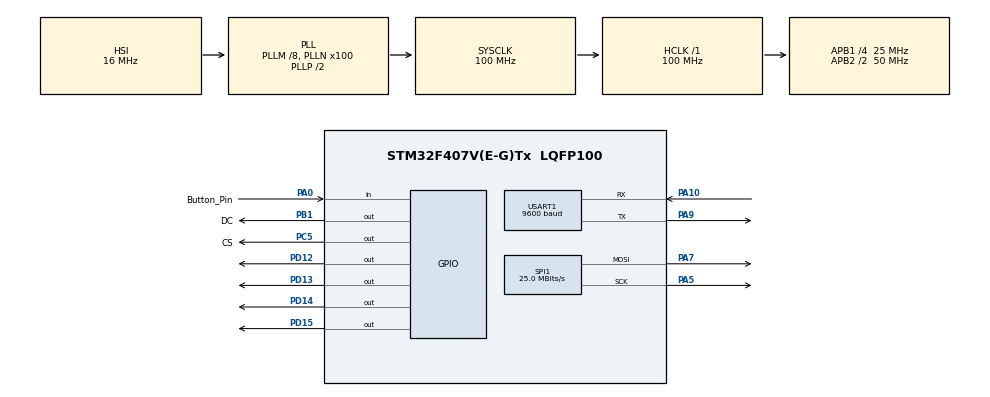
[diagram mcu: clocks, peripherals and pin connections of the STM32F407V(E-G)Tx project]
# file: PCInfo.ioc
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Mcu.Family=STM32F4
Mcu.Name=STM32F407V(E-G)Tx
Mcu.Package=LQFP100
NVIC.PriorityGroup=NVIC_PRIORITYGROUP_4
NVIC.USART1_IRQn=true\:0\:0\:false\:false\:true
PA0-WKUP.GPIO_Label=Button_Pin
PA0-WKUP.Signal=GPIO_Input
PA10.GPIO_Speed=GPIO_SPEED_FREQ_HIGH
PA10.Mode=Asynchronous
PA10.Signal=USART1_RX
PA13.Mode=Serial_Wire
PA13.Signal=SYS_JTMS-SWDIO
PA14.Mode=Serial_Wire
PA14.Signal=SYS_JTCK-SWCLK
PA5.Mode=TX_Only_Simplex_Unidirect_Master
PA5.Signal=SPI1_SCK
PA7.Mode=TX_Only_Simplex_Unidirect_Master
PA7.Signal=SPI1_MOSI
PA9.GPIO_Speed=GPIO_SPEED_FREQ_HIGH
PA9.Mode=Asynchronous
PA9.Signal=USART1_TX
PB1.GPIO_Label=DC
PB1.Signal=GPIO_Output
PC5.GPIO_Label=CS
PC5.Signal=GPIO_Output
PD12.Signal=GPIO_Output
PD13.Signal=GPIO_Output
PD14.Signal=GPIO_Output
PD15.Signal=GPIO_Output
ProjectManager.HeapSize=0x200
ProjectManager.StackSize=0x400
ProjectManager.TargetToolchain=SW4STM32
RCC.48MHZClocksFreq_Value=50000000
RCC.AHBCLKDivider=RCC_SYSCLK_DIV1
RCC.AHBFreq_Value=100000000
RCC.APB1CLKDivider=RCC_HCLK_DIV4
RCC.APB1Freq_Value=25000000
RCC.APB1TimFreq_Value=50000000
RCC.APB2CLKDivider=RCC_HCLK_DIV2
RCC.APB2Freq_Value=50000000
RCC.APB2TimFreq_Value=100000000
RCC.ClockTypeHCLK=RCC_CLOCKTYPE_HCLK
RCC.ClockTypePCLK1=RCC_CLOCKTYPE_PCLK1
RCC.ClockTypePCLK2=RCC_CLOCKTYPE_PCLK2
RCC.ClockTypeSysClk=RCC_CLOCKTYPE_SYSCLK
RCC.CortexFreq_Value=100000000
RCC.Cortex_Div=SYSTICK_CLKSOURCE_HCLK
RCC.EnableExtClockForI2S=false
RCC.EnableHSE=false
RCC.EnableHSERTCDevisor=false
RCC.EnableLSE=false
RCC.EnableLSERTC=false
RCC.ExtClockEnable=false
RCC.HCLKFreq_Value=100000000
RCC.HSEState=RCC_HSE_OFF
RCC.HSE_VALUE=25000000
RCC.HSIState=RCC_HSI_ON
RCC.HSI_VALUE=16000000
RCC.I2SEnable=false
RCC.IWDGEnable=false
RCC.LSE_VALUE=32768
RCC.LSIState=RCC_LSI_OFF
RCC.MCO1OutPutEnable=false
RCC.MCO2OutPutEnable=false
RCC.OscillatorTypeHSI=RCC_OSCILLATORTYPE_HSI
RCC.PLLM=8
RCC.PLLN=100
RCC.PLLP=RCC_PLLP_DIV2
RCC.PLLSource=RCC_PLLSOURCE_HSI
RCC.PLLSourceVirtual=RCC_PLLSOURCE_HSI
RCC.PLLState=RCC_PLL_ON
RCC.RCC_MCODiv1=RCC_MCODIV_1
RCC.RCC_MCODiv2=RCC_MCODIV_1
RCC.RCC_RTC_Clock_Source_FROM_HSE=RCC_RTCCLKSOURCE_HSE_DIV2
RCC.RNGEnable=false
RCC.RTCEnable=false
RCC.SDIOEnable=false
RCC.SYSCLKFreq_VALUE=100000000
RCC.SYSCLKSource=RCC_SYSCLKSOURCE_PLLCLK
RCC.USBFSEnable=false
RCC.USBHSEnable=false
RCC.VCOOutputFreq_Value=200000000
SPI1.BaudRatePrescaler=SPI_BAUDRATEPRESCALER_2
SPI1.CRCPolynomial=10
SPI1.CalculateBaudRate=25.0 MBits/s
SPI1.Direction=SPI_DIRECTION_2LINES
SPI1.Mode=SPI_MODE_MASTER
SPI1.VirtualType=VM_MASTER
USART1.BaudRate=9600
USART1.HwFlowCtl-Asynchronous=UART_HWCONTROL_NONE
USART1.VirtualMode=VM_ASYNC
board=PCInfo

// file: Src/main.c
/**
  ******************************************************************************
  * File Name          : main.c
  * Description        : Main program body
  ******************************************************************************
  *
  * COPYRIGHT(c) 2017 STMicroelectronics
  *
  * Redistribution and use in source and binary forms, with or without modification,
  * are permitted provided that the following conditions are met:
  *   1. Redistributions of source code must retain the above copyright notice,
  *      this list of conditions and the following disclaimer.
  *   2. Redistributions in binary form must reproduce the above copyright notice,
  *      this list of conditions and the following disclaimer in the documentation
  *      and/or other materials provided with the distribution.
  *   3. Neither the name of STMicroelectronics nor the names of its contributors
  *      may be used to endorse or promote products derived from this software
  *      without specific prior written permission.
  *
  * THIS SOFTWARE IS PROVIDED BY THE COPYRIGHT HOLDERS AND CONTRIBUTORS "AS IS"
  * AND ANY EXPRESS OR IMPLIED WARRANTIES, INCLUDING, BUT NOT LIMITED TO, THE
  * IMPLIED WARRANTIES OF MERCHANTABILITY AND FITNESS FOR A PARTICULAR PURPOSE ARE
  * DISCLAIMED. IN NO EVENT SHALL THE COPYRIGHT HOLDER OR CONTRIBUTORS BE LIABLE
  * FOR ANY DIRECT, INDIRECT, INCIDENTAL, SPECIAL, EXEMPLARY, OR CONSEQUENTIAL
  * DAMAGES (INCLUDING, BUT NOT LIMITED TO, PROCUREMENT OF SUBSTITUTE GOODS OR
  * SERVICES; LOSS OF USE, DATA, OR PROFITS; OR BUSINESS INTERRUPTION) HOWEVER
  * CAUSED AND ON ANY THEORY OF LIABILITY, WHETHER IN CONTRACT, STRICT LIABILITY,
  * OR TORT (INCLUDING NEGLIGENCE OR OTHERWISE) ARISING IN ANY WAY OUT OF THE USE
  * OF THIS SOFTWARE, EVEN IF ADVISED OF THE POSSIBILITY OF SUCH DAMAGE.
  *
  ******************************************************************************
  */
#include "main.h"
#include "stm32f4xx_hal.h"

/* USER CODE BEGIN Includes */
#include "stm32f4xx_hal_uart.h"
#include "ssd1306.h"
/* USER CODE END Includes */

SPI_HandleTypeDef hspi1;

UART_HandleTypeDef huart1;

/* USER CODE BEGIN PV */
/* Private variables ---------------------------------------------------------*/

/* USER CODE END PV */

void SystemClock_Config(void);
void Error_Handler(void);
static void MX_GPIO_Init(void);
static void MX_SPI1_Init(void);
static void MX_USART1_UART_Init(void);

/* USER CODE BEGIN PFP */
/* Private function prototypes -----------------------------------------------*/

/* USER CODE END PFP */

int main(void)
{

  /* USER CODE BEGIN 1 */
  uint8_t data[50] = {0};
  uint16_t size=0;
  uint8_t send=0;
  uint8_t viewmode = 0; // 1,2,3
  /* USER CODE END 1 */

  /* MCU Configuration----------------------------------------------------------*/

  /* Reset of all peripherals, Initializes the Flash interface and the Systick. */
  HAL_Init();

  /* Configure the system clock */
  SystemClock_Config();

  /* Initialize all configured peripherals */
  MX_GPIO_Init();
  MX_SPI1_Init();
  MX_USART1_UART_Init();

  /* USER CODE BEGIN 2 */
  ssd1306Init(SSD1306_CHARGEPUMP);
  ssd1306ClearScreen( LAYER0 | LAYER1 );
  ssd1306Refresh();
  HAL_Delay(100);
  size = sprintf(data, "test\n\r");
//  ssd1306DrawString(10, 32, "Hellooo!", 2, WHITE, LAYER1);
//  ssd1306Refresh();

  /* USER CODE END 2 */

  /* Infinite loop */
  while (1)
  {

  /* USER CODE BEGIN 3 */
	  if (HAL_GPIO_ReadPin(Button_Pin_GPIO_Port, Button_Pin_Pin) == GPIO_PIN_SET) {
	   HAL_Delay(100);
	  if(HAL_GPIO_ReadPin(Button_Pin_GPIO_Port, Button_Pin_Pin) == GPIO_PIN_SET){
		  HAL_GPIO_WritePin(GPIOD, GPIO_PIN_15|GPIO_PIN_14|GPIO_PIN_13|GPIO_PIN_12, GPIO_PIN_SET);

		  if(send == 0)
		  {
			  viewmode = (viewmode + 1) % 3;
			  HAL_UART_Transmit_IT(&huart1, (uint8_t*) data, size);
			  send = 1;
		  }
	  }else{
		  HAL_GPIO_WritePin(GPIOD, GPIO_PIN_15|GPIO_PIN_14|GPIO_PIN_13|GPIO_PIN_12, GPIO_PIN_RESET);
		  send = 0;
	  }
	  }
	  ssd1306DrawString(10, 2, "PCInfo", 1, WHITE, LAYER1);
	  ssd1306DrawString(10, 18, "Temp: 42 C", 1, WHITE, LAYER1);
	  ssd1306DrawString(10, 34, "RAM: 4096", 1, WHITE, LAYER1);
	  ssd1306DrawString(10, 50, "CPU: 2400MHz", 1, WHITE, LAYER1);
	  ssd1306Refresh();
  }
  /* USER CODE END 3 */

}

/** System Clock Configuration
*/
void SystemClock_Config(void)
{

  RCC_OscInitTypeDef RCC_OscInitStruct;
  RCC_ClkInitTypeDef RCC_ClkInitStruct;

    /**Configure the main internal regulator output voltage
    */
  __HAL_RCC_PWR_CLK_ENABLE();

  __HAL_PWR_VOLTAGESCALING_CONFIG(PWR_REGULATOR_VOLTAGE_SCALE1);

    /**Initializes the CPU, AHB and APB busses clocks
    */
  RCC_OscInitStruct.OscillatorType = RCC_OSCILLATORTYPE_HSI;
  RCC_OscInitStruct.HSIState = RCC_HSI_ON;
  RCC_OscInitStruct.HSICalibrationValue = 16;
  RCC_OscInitStruct.PLL.PLLState = RCC_PLL_ON;
  RCC_OscInitStruct.PLL.PLLSource = RCC_PLLSOURCE_HSI;
  RCC_OscInitStruct.PLL.PLLM = 8;
  RCC_OscInitStruct.PLL.PLLN = 100;
  RCC_OscInitStruct.PLL.PLLP = RCC_PLLP_DIV2;
  RCC_OscInitStruct.PLL.PLLQ = 4;
  if (HAL_RCC_OscConfig(&RCC_OscInitStruct) != HAL_OK)
  {
    Error_Handler();
  }

    /**Initializes the CPU, AHB and APB busses clocks
    */
  RCC_ClkInitStruct.ClockType = RCC_CLOCKTYPE_HCLK|RCC_CLOCKTYPE_SYSCLK
                              |RCC_CLOCKTYPE_PCLK1|RCC_CLOCKTYPE_PCLK2;
  RCC_ClkInitStruct.SYSCLKSource = RCC_SYSCLKSOURCE_PLLCLK;
  RCC_ClkInitStruct.AHBCLKDivider = RCC_SYSCLK_DIV1;
  RCC_ClkInitStruct.APB1CLKDivider = RCC_HCLK_DIV4;
  RCC_ClkInitStruct.APB2CLKDivider = RCC_HCLK_DIV2;

  if (HAL_RCC_ClockConfig(&RCC_ClkInitStruct, FLASH_LATENCY_3) != HAL_OK)
  {
    Error_Handler();
  }

    /**Configure the Systick interrupt time
    */
  HAL_SYSTICK_Config(HAL_RCC_GetHCLKFreq()/1000);

    /**Configure the Systick
    */
  HAL_SYSTICK_CLKSourceConfig(SYSTICK_CLKSOURCE_HCLK);

  /* SysTick_IRQn interrupt configuration */
  HAL_NVIC_SetPriority(SysTick_IRQn, 0, 0);
}

/* SPI1 init function */
static void MX_SPI1_Init(void)
{

  hspi1.Instance = SPI1;
  hspi1.Init.Mode = SPI_MODE_MASTER;
  hspi1.Init.Direction = SPI_DIRECTION_2LINES;
  hspi1.Init.DataSize = SPI_DATASIZE_8BIT;
  hspi1.Init.CLKPolarity = SPI_POLARITY_LOW;
  hspi1.Init.CLKPhase = SPI_PHASE_1EDGE;
  hspi1.Init.NSS = SPI_NSS_SOFT;
  hspi1.Init.BaudRatePrescaler = SPI_BAUDRATEPRESCALER_2;
  hspi1.Init.FirstBit = SPI_FIRSTBIT_MSB;
  hspi1.Init.TIMode = SPI_TIMODE_DISABLE;
  hspi1.Init.CRCCalculation = SPI_CRCCALCULATION_DISABLE;
  hspi1.Init.CRCPolynomial = 10;
  if (HAL_SPI_Init(&hspi1) != HAL_OK)
  {
    Error_Handler();
  }

}

/* USART1 init function */
static void MX_USART1_UART_Init(void)
{

  huart1.Instance = USART1;
  huart1.Init.BaudRate = 9600;
  huart1.Init.WordLength = UART_WORDLENGTH_8B;
  huart1.Init.StopBits = UART_STOPBITS_1;
  huart1.Init.Parity = UART_PARITY_NONE;
  huart1.Init.Mode = UART_MODE_TX_RX;
  huart1.Init.HwFlowCtl = UART_HWCONTROL_NONE;
  huart1.Init.OverSampling = UART_OVERSAMPLING_16;
  if (HAL_UART_Init(&huart1) != HAL_OK)
  {
    Error_Handler();
  }

}

/** Configure pins as
        * Analog
        * Input
        * Output
        * EVENT_OUT
        * EXTI
*/
static void MX_GPIO_Init(void)
{

  GPIO_InitTypeDef GPIO_InitStruct;

  /* GPIO Ports Clock Enable */
  __HAL_RCC_GPIOA_CLK_ENABLE();
  __HAL_RCC_GPIOC_CLK_ENABLE();
  __HAL_RCC_GPIOB_CLK_ENABLE();
  __HAL_RCC_GPIOD_CLK_ENABLE();

  /*Configure GPIO pin Output Level */
  HAL_GPIO_WritePin(CS_GPIO_Port, CS_Pin, GPIO_PIN_RESET);

  /*Configure GPIO pin Output Level */
  HAL_GPIO_WritePin(DC_GPIO_Port, DC_Pin, GPIO_PIN_RESET);

  /*Configure GPIO pin Output Level */
  HAL_GPIO_WritePin(GPIOD, GPIO_PIN_12|GPIO_PIN_13|GPIO_PIN_14|GPIO_PIN_15, GPIO_PIN_RESET);

  /*Configure GPIO pin : Button_Pin_Pin */
  GPIO_InitStruct.Pin = Button_Pin_Pin;
  GPIO_InitStruct.Mode = GPIO_MODE_INPUT;
  GPIO_InitStruct.Pull = GPIO_NOPULL;
  HAL_GPIO_Init(Button_Pin_GPIO_Port, &GPIO_InitStruct);

  /*Configure GPIO pin : CS_Pin */
  GPIO_InitStruct.Pin = CS_Pin;
  GPIO_InitStruct.Mode = GPIO_MODE_OUTPUT_PP;
  GPIO_InitStruct.Pull = GPIO_NOPULL;
  GPIO_InitStruct.Speed = GPIO_SPEED_FREQ_LOW;
  HAL_GPIO_Init(CS_GPIO_Port, &GPIO_InitStruct);

  /*Configure GPIO pin : DC_Pin */
  GPIO_InitStruct.Pin = DC_Pin;
  GPIO_InitStruct.Mode = GPIO_MODE_OUTPUT_PP;
  GPIO_InitStruct.Pull = GPIO_NOPULL;
  GPIO_InitStruct.Speed = GPIO_SPEED_FREQ_LOW;
  HAL_GPIO_Init(DC_GPIO_Port, &GPIO_InitStruct);

  /*Configure GPIO pins : PD12 PD13 PD14 PD15 */
  GPIO_InitStruct.Pin = GPIO_PIN_12|GPIO_PIN_13|GPIO_PIN_14|GPIO_PIN_15;
  GPIO_InitStruct.Mode = GPIO_MODE_OUTPUT_PP;
  GPIO_InitStruct.Pull = GPIO_NOPULL;
  GPIO_InitStruct.Speed = GPIO_SPEED_FREQ_LOW;
  HAL_GPIO_Init(GPIOD, &GPIO_InitStruct);

}

void Error_Handler(void)
{
  while(1)
  {
  }
}

/************************ (C) COPYRIGHT STMicroelectronics *****END OF FILE****/
